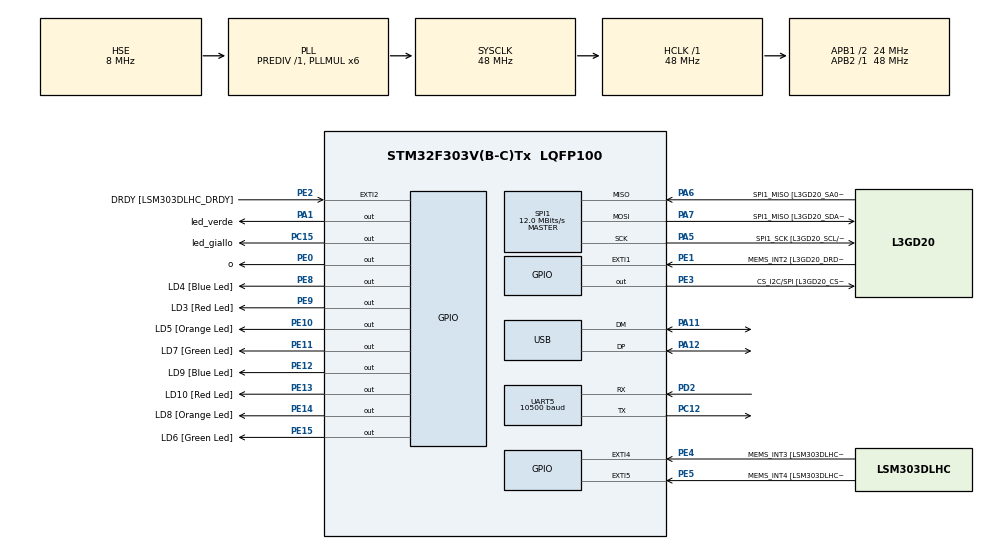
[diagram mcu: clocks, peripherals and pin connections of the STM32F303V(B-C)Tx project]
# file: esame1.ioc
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Mcu.Family=STM32F3
Mcu.Name=STM32F303V(B-C)Tx
Mcu.Package=LQFP100
NVIC.PriorityGroup=NVIC_PRIORITYGROUP_0
NVIC.UART5_IRQn=true\:0\:0\:false\:false\:true\:true\:true\:true
PA1.GPIO_Label=led_verde
PA1.GPIO_ModeDefaultOutputPP=GPIO_MODE_OUTPUT_PP
PA1.GPIO_PuPd=GPIO_NOPULL
PA1.GPIO_Speed=GPIO_SPEED_FREQ_LOW
PA1.PinState=GPIO_PIN_RESET
PA1.Signal=GPIO_Output
PA11.Mode=Device
PA11.Signal=USB_DM
PA12.Mode=Device
PA12.Signal=USB_DP
PA13.GPIO_Label=SWDIO
PA13.Mode=Serial_Wire
PA13.Signal=SYS_JTMS-SWDIO
PA14.GPIO_Label=SWCLK
PA14.Mode=Serial_Wire
PA14.Signal=SYS_JTCK-SWCLK
PA5.GPIO_Label=SPI1_SCK [L3GD20_SCL/SPC]
PA5.Mode=Full_Duplex_Master
PA5.Signal=SPI1_SCK
PA6.GPIO_Label=SPI1_MISO [L3GD20_SA0/SDO]
PA6.Mode=Full_Duplex_Master
PA6.Signal=SPI1_MISO
PA7.GPIO_Label=SPI1_MISO [L3GD20_SDA/SDI/SDO]
PA7.Mode=Full_Duplex_Master
PA7.Signal=SPI1_MOSI
PC12.Mode=Asynchronous
PC12.Signal=UART5_TX
PC15-OSC32_OUT.GPIO_Label=led_giallo
PC15-OSC32_OUT.Signal=GPIO_Output
PD2.Mode=Asynchronous
PD2.Signal=UART5_RX
PE0.GPIO_Label=o
PE0.GPIO_ModeDefaultOutputPP=GPIO_MODE_OUTPUT_PP
PE0.GPIO_PuPd=GPIO_NOPULL
PE0.GPIO_Speed=GPIO_SPEED_FREQ_HIGH
PE0.PinState=GPIO_PIN_SET
PE0.Signal=GPIO_Output
PE1.GPIO_Label=MEMS_INT2 [L3GD20_DRDY/INT2]
PE1.GPIO_ModeDefaultEXTI=GPIO_MODE_EVT_RISING
PE1.Signal=GPXTI1
PE10.GPIO_Label=LD5 [Orange Led]
PE10.GPIO_Speed=GPIO_SPEED_FREQ_LOW
PE10.PinState=GPIO_PIN_RESET
PE10.Signal=GPIO_Output
PE11.GPIO_Label=LD7 [Green Led]
PE11.Signal=GPIO_Output
PE12.GPIO_Label=LD9 [Blue Led]
PE12.Signal=GPIO_Output
PE13.GPIO_Label=LD10 [Red Led]
PE13.Signal=GPIO_Output
PE14.GPIO_Label=LD8 [Orange Led]
PE14.Signal=GPIO_Output
PE15.GPIO_Label=LD6 [Green Led]
PE15.Signal=GPIO_Output
PE2.GPIO_Label=DRDY [LSM303DLHC_DRDY]
PE2.GPIO_ModeDefaultEXTI=GPIO_MODE_EVT_RISING
PE2.Signal=GPXTI2
PE3.GPIO_Label=CS_I2C/SPI [L3GD20_CS_I2C/SPI]
PE3.Signal=GPIO_Output
PE4.GPIO_Label=MEMS_INT3 [LSM303DLHC_INT1]
PE4.GPIO_ModeDefaultEXTI=GPIO_MODE_EVT_RISING
PE4.Signal=GPXTI4
PE5.GPIO_Label=MEMS_INT4 [LSM303DLHC_INT2]
PE5.GPIO_ModeDefaultEXTI=GPIO_MODE_EVT_RISING
PE5.Signal=GPXTI5
PE8.GPIO_Label=LD4 [Blue Led]
PE8.Signal=GPIO_Output
PE9.GPIO_Label=LD3 [Red Led]
PE9.Signal=GPIO_Output
PF0-OSC_IN.GPIO_Label=OSC_IN
PF0-OSC_IN.Mode=HSE-External-Clock-Source
PF0-OSC_IN.Signal=RCC_OSC_IN
ProjectManager.HeapSize=0x200
ProjectManager.StackSize=0x400
ProjectManager.TargetToolchain=STM32CubeIDE
RCC.AHBFreq_Value=48000000
RCC.APB1CLKDivider=RCC_HCLK_DIV2
RCC.APB1Freq_Value=24000000
RCC.APB1TimFreq_Value=48000000
RCC.APB2Freq_Value=48000000
RCC.APB2TimFreq_Value=48000000
RCC.CortexFreq_Value=48000000
RCC.HCLKFreq_Value=48000000
RCC.HSE_VALUE=8000000
RCC.HSI_VALUE=8000000
RCC.LSE_VALUE=32768
RCC.PLLMUL=RCC_PLL_MUL6
RCC.SYSCLKFreq_VALUE=48000000
RCC.SYSCLKSourceVirtual=RCC_SYSCLKSOURCE_PLLCLK
RCC.USBFreq_Value=48000000
SPI1.BaudRatePrescaler=SPI_BAUDRATEPRESCALER_4
SPI1.BaudRatePrescaler-Full_Duplex_Master=SPI_BAUDRATEPRESCALER_2
SPI1.CalculateBaudRate=12.0 MBits/s
SPI1.CalculateBaudRate-Full_Duplex_Master=24.0 MBits/s
SPI1.Direction=SPI_DIRECTION_2LINES
SPI1.Mode=SPI_MODE_MASTER
SPI1.Mode-Full_Duplex_Master=SPI_MODE_MASTER
SPI1.VirtualType=VM_MASTER
UART5.BaudRate=10500
UART5.RxPinLevelInvertParam=UART_ADVFEATURE_RXINV_DISABLE
board=STM32F3DISCOVERY

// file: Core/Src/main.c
/* USER CODE BEGIN Header */
/**
  ******************************************************************************
  * @file           : main.c
  * @brief          : Main program body
  ******************************************************************************
  * @attention
  *
  * Copyright (c) 2023 STMicroelectronics.
  * All rights reserved.
  *
  * This software is licensed under terms that can be found in the LICENSE file
  * in the root directory of this software component.
  * If no LICENSE file comes with this software, it is provided AS-IS.
  *
  ******************************************************************************
  */
/* USER CODE END Header */
#include "main.h"

SPI_HandleTypeDef hspi1;

UART_HandleTypeDef huart5;

PCD_HandleTypeDef hpcd_USB_FS;

/* USER CODE BEGIN PV */
uint32_t msg = 0;

/* USER CODE END PV */

void SystemClock_Config(void);
static void MX_GPIO_Init(void);
static void MX_SPI1_Init(void);
static void MX_UART5_Init(void);
static void MX_USB_PCD_Init(void);
/* USER CODE BEGIN PFP */
void led_on(){
	HAL_GPIO_WritePin(GPIOE, GPIO_PIN_8, GPIO_PIN_SET);
	HAL_GPIO_WritePin(GPIOE, GPIO_PIN_9, GPIO_PIN_SET);
	HAL_GPIO_WritePin(GPIOE, GPIO_PIN_10, GPIO_PIN_SET);
	HAL_GPIO_WritePin(GPIOE, GPIO_PIN_11, GPIO_PIN_SET);
	HAL_GPIO_WritePin(GPIOE, GPIO_PIN_12, GPIO_PIN_SET);
	HAL_GPIO_WritePin(GPIOE, GPIO_PIN_13, GPIO_PIN_SET);
	HAL_GPIO_WritePin(GPIOE, GPIO_PIN_14, GPIO_PIN_SET);
	HAL_GPIO_WritePin(GPIOE, GPIO_PIN_15, GPIO_PIN_SET);
};
void led_off(){
	HAL_GPIO_WritePin(GPIOE, GPIO_PIN_8, GPIO_PIN_RESET);
	HAL_GPIO_WritePin(GPIOE, GPIO_PIN_9, GPIO_PIN_RESET);
	HAL_GPIO_WritePin(GPIOE, GPIO_PIN_10, GPIO_PIN_RESET);
	HAL_GPIO_WritePin(GPIOE, GPIO_PIN_11, GPIO_PIN_RESET);
	HAL_GPIO_WritePin(GPIOE, GPIO_PIN_12, GPIO_PIN_RESET);
	HAL_GPIO_WritePin(GPIOE, GPIO_PIN_13, GPIO_PIN_RESET);
	HAL_GPIO_WritePin(GPIOE, GPIO_PIN_14, GPIO_PIN_RESET);
	HAL_GPIO_WritePin(GPIOE, GPIO_PIN_15, GPIO_PIN_RESET);
};
void led_ext_on(){
HAL_GPIO_WritePin(GPIOA,GPIO_PIN_1, GPIO_PIN_SET);

}
void led_ext_off(){
	HAL_GPIO_WritePin(GPIOA,GPIO_PIN_1, GPIO_PIN_RESET);

}

void led_ext_on2(){
HAL_GPIO_WritePin(GPIOA,GPIO_PIN_1, GPIO_PIN_SET);
HAL_GPIO_WritePin(GPIOC,GPIO_PIN_15, GPIO_PIN_SET);

}
void led_ext_off2(){
	HAL_GPIO_WritePin(GPIOA,GPIO_PIN_1, GPIO_PIN_RESET);
	HAL_GPIO_WritePin(GPIOC,GPIO_PIN_15, GPIO_PIN_RESET);

}

void delay_manuale(){
	for(int i=0;i<1000000;i++){

	}
}

void blink(){
	HAL_GPIO_WritePin(GPIOE, GPIO_PIN_8, GPIO_PIN_SET);
	//HAL_Delay(100);
	delay_manuale();
	HAL_GPIO_WritePin(GPIOE, GPIO_PIN_9, GPIO_PIN_SET);
	//HAL_Delay(100);
	delay_manuale();
	HAL_GPIO_WritePin(GPIOE, GPIO_PIN_10, GPIO_PIN_SET);
	//HAL_Delay(100);
	delay_manuale();
	HAL_GPIO_WritePin(GPIOE, GPIO_PIN_11, GPIO_PIN_SET);
	//HAL_Delay(100);
	delay_manuale();
	HAL_GPIO_WritePin(GPIOE, GPIO_PIN_12, GPIO_PIN_SET);
	//HAL_Delay(100);
	delay_manuale();
	HAL_GPIO_WritePin(GPIOE, GPIO_PIN_13, GPIO_PIN_SET);
	//HAL_Delay(100);
	delay_manuale();
	HAL_GPIO_WritePin(GPIOE, GPIO_PIN_14, GPIO_PIN_SET);
	delay_manuale();
	//HAL_Delay(100);
	HAL_GPIO_WritePin(GPIOE, GPIO_PIN_15, GPIO_PIN_SET);
	//HAL_Delay(500);
	delay_manuale();
	HAL_GPIO_WritePin(GPIOE, GPIO_PIN_15, GPIO_PIN_RESET);
	//HAL_Delay(100);
	delay_manuale();
	HAL_GPIO_WritePin(GPIOE, GPIO_PIN_14, GPIO_PIN_RESET);
	//HAL_Delay(100);
	delay_manuale();
	HAL_GPIO_WritePin(GPIOE, GPIO_PIN_13, GPIO_PIN_RESET);
	//HAL_Delay(100);
	delay_manuale();
	HAL_GPIO_WritePin(GPIOE, GPIO_PIN_12, GPIO_PIN_RESET);
	//HAL_Delay(100);
	delay_manuale();
	HAL_GPIO_WritePin(GPIOE, GPIO_PIN_11, GPIO_PIN_RESET);
	//HAL_Delay(100);
	delay_manuale();
	HAL_GPIO_WritePin(GPIOE, GPIO_PIN_10, GPIO_PIN_RESET);
	//HAL_Delay(100);
	delay_manuale();
	HAL_GPIO_WritePin(GPIOE, GPIO_PIN_9, GPIO_PIN_RESET);
	delay_manuale();
	//HAL_Delay(100);
	HAL_GPIO_WritePin(GPIOE, GPIO_PIN_8, GPIO_PIN_RESET);

}
/* USER CODE END PFP */

/* USER CODE BEGIN 0 */
void HAL_UART_RxCpltCallback(UART_HandleTypeDef * huart)
{
	if(msg==0){
	led_off();
	led_ext_off2();
	HAL_UART_Receive_IT(&huart5, (uint8_t*) &msg, sizeof(uint32_t));

	}
	if(msg==1){
	led_on();
	HAL_UART_Receive_IT(&huart5, (uint8_t*) &msg, sizeof(uint32_t));

	}
	if (msg==2){
	led_off();
	led_ext_on();
	HAL_UART_Receive_IT(&huart5, (uint8_t*) &msg, sizeof(uint32_t));

	}
	if (msg==3){
		led_ext_off();
		blink();
		HAL_UART_Receive_IT(&huart5, (uint8_t*) &msg, sizeof(uint32_t));

		}
	if (msg==4){
		led_ext_on2();
		HAL_UART_Receive_IT(&huart5, (uint8_t*) &msg, sizeof(uint32_t));
	}
}
/* USER CODE END 0 */

int main(void)
{

  /* MCU Configuration--------------------------------------------------------*/

  /* Reset of all peripherals, Initializes the Flash interface and the Systick. */
  HAL_Init();

  /* Configure the system clock */
  SystemClock_Config();

  /* Initialize all configured peripherals */
  MX_GPIO_Init();
  MX_SPI1_Init();
  MX_UART5_Init();
  MX_USB_PCD_Init();
  /* USER CODE BEGIN 2 */
HAL_UART_Receive_IT(&huart5, (uint8_t*) &msg, sizeof(uint32_t));

  /* USER CODE END 2 */

  /* Infinite loop */
  while (1)
  {

  }
}

void SystemClock_Config(void)
{
  RCC_OscInitTypeDef RCC_OscInitStruct = {0};
  RCC_ClkInitTypeDef RCC_ClkInitStruct = {0};
  RCC_PeriphCLKInitTypeDef PeriphClkInit = {0};

  /** Initializes the RCC Oscillators according to the specified parameters
  * in the RCC_OscInitTypeDef structure.
  */
  RCC_OscInitStruct.OscillatorType = RCC_OSCILLATORTYPE_HSE;
  RCC_OscInitStruct.HSEState = RCC_HSE_BYPASS;
  RCC_OscInitStruct.HSEPredivValue = RCC_HSE_PREDIV_DIV1;
  RCC_OscInitStruct.HSIState = RCC_HSI_ON;
  RCC_OscInitStruct.PLL.PLLState = RCC_PLL_ON;
  RCC_OscInitStruct.PLL.PLLSource = RCC_PLLSOURCE_HSE;
  RCC_OscInitStruct.PLL.PLLMUL = RCC_PLL_MUL6;
  if (HAL_RCC_OscConfig(&RCC_OscInitStruct) != HAL_OK)
  {
    Error_Handler();
  }

  /** Initializes the CPU, AHB and APB buses clocks
  */
  RCC_ClkInitStruct.ClockType = RCC_CLOCKTYPE_HCLK|RCC_CLOCKTYPE_SYSCLK
                              |RCC_CLOCKTYPE_PCLK1|RCC_CLOCKTYPE_PCLK2;
  RCC_ClkInitStruct.SYSCLKSource = RCC_SYSCLKSOURCE_PLLCLK;
  RCC_ClkInitStruct.AHBCLKDivider = RCC_SYSCLK_DIV1;
  RCC_ClkInitStruct.APB1CLKDivider = RCC_HCLK_DIV2;
  RCC_ClkInitStruct.APB2CLKDivider = RCC_HCLK_DIV1;

  if (HAL_RCC_ClockConfig(&RCC_ClkInitStruct, FLASH_LATENCY_1) != HAL_OK)
  {
    Error_Handler();
  }
  PeriphClkInit.PeriphClockSelection = RCC_PERIPHCLK_USB|RCC_PERIPHCLK_UART5;
  PeriphClkInit.Uart5ClockSelection = RCC_UART5CLKSOURCE_PCLK1;
  PeriphClkInit.USBClockSelection = RCC_USBCLKSOURCE_PLL;
  if (HAL_RCCEx_PeriphCLKConfig(&PeriphClkInit) != HAL_OK)
  {
    Error_Handler();
  }
}

static void MX_SPI1_Init(void)
{

  /* SPI1 parameter configuration*/
  hspi1.Instance = SPI1;
  hspi1.Init.Mode = SPI_MODE_MASTER;
  hspi1.Init.Direction = SPI_DIRECTION_2LINES;
  hspi1.Init.DataSize = SPI_DATASIZE_4BIT;
  hspi1.Init.CLKPolarity = SPI_POLARITY_LOW;
  hspi1.Init.CLKPhase = SPI_PHASE_1EDGE;
  hspi1.Init.NSS = SPI_NSS_SOFT;
  hspi1.Init.BaudRatePrescaler = SPI_BAUDRATEPRESCALER_4;
  hspi1.Init.FirstBit = SPI_FIRSTBIT_MSB;
  hspi1.Init.TIMode = SPI_TIMODE_DISABLE;
  hspi1.Init.CRCCalculation = SPI_CRCCALCULATION_DISABLE;
  hspi1.Init.CRCPolynomial = 7;
  hspi1.Init.CRCLength = SPI_CRC_LENGTH_DATASIZE;
  hspi1.Init.NSSPMode = SPI_NSS_PULSE_ENABLE;
  if (HAL_SPI_Init(&hspi1) != HAL_OK)
  {
    Error_Handler();
  }

}

static void MX_UART5_Init(void)
{

  huart5.Instance = UART5;
  huart5.Init.BaudRate = 10500;
  huart5.Init.WordLength = UART_WORDLENGTH_8B;
  huart5.Init.StopBits = UART_STOPBITS_1;
  huart5.Init.Parity = UART_PARITY_NONE;
  huart5.Init.Mode = UART_MODE_TX_RX;
  huart5.Init.HwFlowCtl = UART_HWCONTROL_NONE;
  huart5.Init.OverSampling = UART_OVERSAMPLING_16;
  huart5.Init.OneBitSampling = UART_ONE_BIT_SAMPLE_DISABLE;
  huart5.AdvancedInit.AdvFeatureInit = UART_ADVFEATURE_NO_INIT;
  if (HAL_UART_Init(&huart5) != HAL_OK)
  {
    Error_Handler();
  }

}

static void MX_USB_PCD_Init(void)
{

  hpcd_USB_FS.Instance = USB;
  hpcd_USB_FS.Init.dev_endpoints = 8;
  hpcd_USB_FS.Init.speed = PCD_SPEED_FULL;
  hpcd_USB_FS.Init.phy_itface = PCD_PHY_EMBEDDED;
  hpcd_USB_FS.Init.low_power_enable = DISABLE;
  hpcd_USB_FS.Init.battery_charging_enable = DISABLE;
  if (HAL_PCD_Init(&hpcd_USB_FS) != HAL_OK)
  {
    Error_Handler();
  }

}

static void MX_GPIO_Init(void)
{
  GPIO_InitTypeDef GPIO_InitStruct = {0};

  /* GPIO Ports Clock Enable */
  __HAL_RCC_GPIOE_CLK_ENABLE();
  __HAL_RCC_GPIOC_CLK_ENABLE();
  __HAL_RCC_GPIOF_CLK_ENABLE();
  __HAL_RCC_GPIOA_CLK_ENABLE();
  __HAL_RCC_GPIOD_CLK_ENABLE();

  /*Configure GPIO pin Output Level */
  HAL_GPIO_WritePin(GPIOE, CS_I2C_SPI_Pin|LD4_Pin|LD3_Pin|LD5_Pin
                          |LD7_Pin|LD9_Pin|LD10_Pin|LD8_Pin
                          |LD6_Pin, GPIO_PIN_RESET);

  /*Configure GPIO pin Output Level */
  HAL_GPIO_WritePin(led_giallo_GPIO_Port, led_giallo_Pin, GPIO_PIN_RESET);

  /*Configure GPIO pin Output Level */
  HAL_GPIO_WritePin(led_verde_GPIO_Port, led_verde_Pin, GPIO_PIN_RESET);

  /*Configure GPIO pin Output Level */
  HAL_GPIO_WritePin(o_GPIO_Port, o_Pin, GPIO_PIN_SET);

  /*Configure GPIO pins : DRDY_Pin MEMS_INT3_Pin MEMS_INT4_Pin MEMS_INT2_Pin */
  GPIO_InitStruct.Pin = DRDY_Pin|MEMS_INT3_Pin|MEMS_INT4_Pin|MEMS_INT2_Pin;
  GPIO_InitStruct.Mode = GPIO_MODE_EVT_RISING;
  GPIO_InitStruct.Pull = GPIO_NOPULL;
  HAL_GPIO_Init(GPIOE, &GPIO_InitStruct);

  /*Configure GPIO pins : CS_I2C_SPI_Pin LD4_Pin LD3_Pin LD5_Pin
                           LD7_Pin LD9_Pin LD10_Pin LD8_Pin
                           LD6_Pin */
  GPIO_InitStruct.Pin = CS_I2C_SPI_Pin|LD4_Pin|LD3_Pin|LD5_Pin
                          |LD7_Pin|LD9_Pin|LD10_Pin|LD8_Pin
                          |LD6_Pin;
  GPIO_InitStruct.Mode = GPIO_MODE_OUTPUT_PP;
  GPIO_InitStruct.Pull = GPIO_NOPULL;
  GPIO_InitStruct.Speed = GPIO_SPEED_FREQ_LOW;
  HAL_GPIO_Init(GPIOE, &GPIO_InitStruct);

  /*Configure GPIO pin : led_giallo_Pin */
  GPIO_InitStruct.Pin = led_giallo_Pin;
  GPIO_InitStruct.Mode = GPIO_MODE_OUTPUT_PP;
  GPIO_InitStruct.Pull = GPIO_NOPULL;
  GPIO_InitStruct.Speed = GPIO_SPEED_FREQ_LOW;
  HAL_GPIO_Init(led_giallo_GPIO_Port, &GPIO_InitStruct);

  /*Configure GPIO pin : led_verde_Pin */
  GPIO_InitStruct.Pin = led_verde_Pin;
  GPIO_InitStruct.Mode = GPIO_MODE_OUTPUT_PP;
  GPIO_InitStruct.Pull = GPIO_NOPULL;
  GPIO_InitStruct.Speed = GPIO_SPEED_FREQ_LOW;
  HAL_GPIO_Init(led_verde_GPIO_Port, &GPIO_InitStruct);

  /*Configure GPIO pin : o_Pin */
  GPIO_InitStruct.Pin = o_Pin;
  GPIO_InitStruct.Mode = GPIO_MODE_OUTPUT_PP;
  GPIO_InitStruct.Pull = GPIO_NOPULL;
  GPIO_InitStruct.Speed = GPIO_SPEED_FREQ_HIGH;
  HAL_GPIO_Init(o_GPIO_Port, &GPIO_InitStruct);

}

void Error_Handler(void)
{
  __disable_irq();
  while (1)
  {
  }
}
